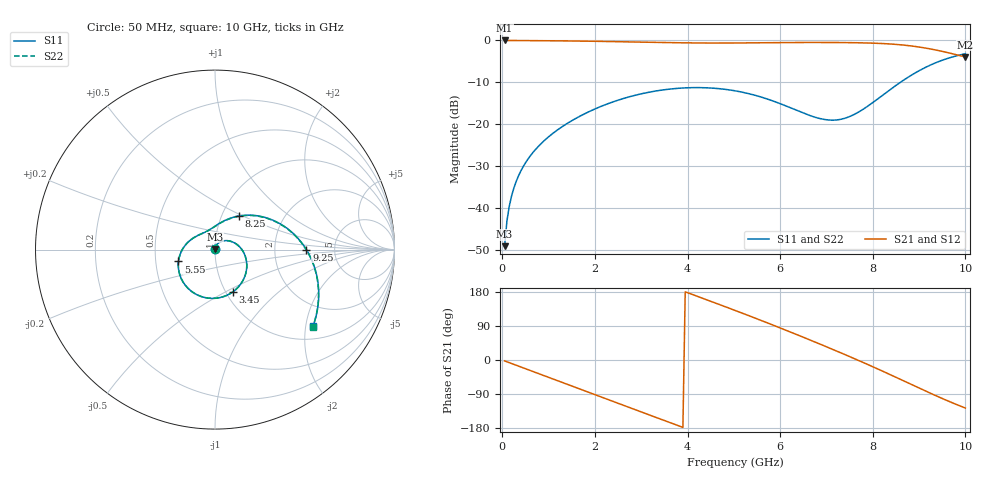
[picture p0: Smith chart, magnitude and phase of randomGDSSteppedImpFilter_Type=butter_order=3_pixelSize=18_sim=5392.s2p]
! freq	dB(S11)	phase(S11)	dB(S12)	phase(S12)
!  dB(S21)	phase(S21)	dB(S22)	phase(S22)
!S-par simulation data
#  GHz  S  DB  R 50
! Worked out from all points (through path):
!   200 points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, 50 MHz to 10 GHz, reference 50 ohm
!   highest |S21| = -0.01 dB at 50 MHz (marker M1); lowest = -4.0 dB at 10 GHz (marker M2)
!   group delay of S21, straight-line fit = 134 ps
!   lowest |S11| = -49.2 dB at 50 MHz (marker M3), VSWR 1.01, Z = 50 + j0.347 ohm
!   |S11| at or under -10 dB: start of sweep to 8.598 GHz
!   |S22| runs from -49.2 to -3.2 dB; largest |S21 - S12| = 0
!   S11 on the Smith chart (normalised r, x): 50 MHz: 1.00, +0.01; 3.45 GHz: 1.08, -0.54; 5.55 GHz: 0.66, -0.09; 8.25 GHz: 1.20, +0.48; 9.25 GHz: 3.08, -0.00; 10 GHz: 1.33, -2.20
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0.05  -49.17 86.2  -0.01 -2.4  -0.01 -2.4  -49.17 86.2
0.1  -43.17 84.3  -0.01 -4.7  -0.01 -4.7  -43.17 84.4
0.2  -37.19 79.9  -0.02 -9.2  -0.02 -9.2  -37.19 79.9
0.45  -30.19 68.8  -0.03 -20.6  -0.03 -20.6  -30.19 68.8
1.15  -21.73 37.6  -0.09 -52.7  -0.09 -52.7  -21.73 37.6
1.75  -17.68 10.4  -0.16 -80.1  -0.16 -80.1  -17.68 10.4
2.5  -14.28 -23.8  -0.30 -114.3  -0.30 -114.3  -14.28 -23.8
3.4  -11.94 -64.5  -0.49 -155.2  -0.49 -155.2  -11.94 -64.5
3.45  -11.86 -66.8  -0.50 -157.5  -0.50 -157.5  -11.86 -66.7
4.25  -11.27 -102.5  -0.61 166.4  -0.61 166.4  -11.27 -102.5
5.05  -12.09 -138.7  -0.61 129.7  -0.61 129.7  -12.09 -138.8
5.55  -13.40 -162.0  -0.57 106.3  -0.57 106.3  -13.40 -162.2
6.15  -15.77 168.9  -0.51 77.4  -0.51 77.4  -15.77 168.6
6.7  -18.17 140.3  -0.48 50.1  -0.48 50.1  -18.17 139.7
7.1  -19.05 118.0  -0.49 29.8  -0.49 29.8  -19.05 117.2
7.5  -18.19 95.5  -0.52 9.0  -0.52 9.0  -18.19 94.5
7.9  -15.64 73.6  -0.61 -12.3  -0.61 -12.3  -15.64 72.8
8.25  -12.79 54.7  -0.76 -31.5  -0.76 -31.5  -12.78 54.1
8.35  -11.96 49.3  -0.83 -37.1  -0.83 -37.1  -11.96 48.7
8.8  -8.54 24.6  -1.27 -62.6  -1.27 -62.6  -8.53 24.2
9.25  -5.86 -0.0  -2.04 -88.0  -2.04 -88.0  -5.86 -0.3
10  -3.18 -38.1  -3.97 -126.8  -3.97 -126.8  -3.18 -38.2
